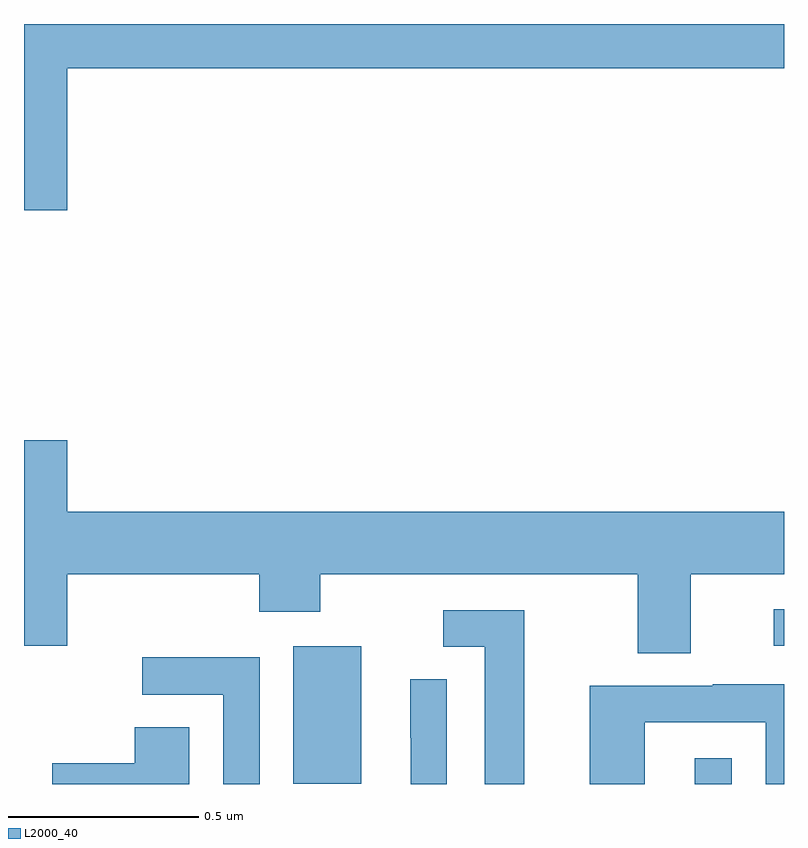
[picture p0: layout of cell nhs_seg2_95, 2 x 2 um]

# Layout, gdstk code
import gdstk
lib = gdstk.Library(unit=1e-6, precision=1e-09)
def R(c, l, rs):  # rectangles x0, y0, x1, y1
    for r in rs: c.add(gdstk.rectangle(r[:2], r[2:], *l))
def P(c, l, *ps):  # polygons
    for p in ps: c.add(gdstk.Polygon(p, *l))
L2000_40 = (2000, 40)

nhs_seg2_95 = lib.new_cell('nhs_seg2_95')
R(nhs_seg2_95, L2000_40, [(113.765,597.8,113.862,597.868), (112.709,597.801,112.888,598.162), (113.973,598.164,114,598.26)])
P(nhs_seg2_95, L2000_40, [(112.114,599.684),(114,599.684),(114,599.8),(112,599.8),(112,599.31),(112.114,599.31)],
  [(113.755,598.352),(114,598.352),(114,598.516),(112.114,598.516),(112.114,598.705),(112,598.705),(112,598.164),(112.114,598.164),(112.114,598.352),(112.619,598.352),(112.619,598.253),(112.779,598.253),(112.779,598.352),(113.615,598.352),(113.615,598.144),(113.755,598.144)],
  [(113.317,598.257),(113.103,598.257),(113.103,598.161),(113.213,598.161),(113.213,597.8),(113.317,597.8)],
  [(112.62,598.134),(112.311,598.134),(112.311,598.035),(112.524,598.035),(112.524,597.8),(112.62,597.8)],
  [(113.112,598.076),(113.016,598.076),(113.016,597.922),(113.018,597.922),(113.018,597.8),(113.112,597.8)],
  [(113.634,597.963),(113.952,597.963),(113.952,597.8),(114,597.8),(114,598.063),(113.813,598.063),(113.813,598.059),(113.489,598.059),(113.489,597.8),(113.634,597.8)],
  [(112.435,597.95),(112.292,597.95),(112.292,597.855),(112.074,597.855),(112.074,597.8),(112.435,597.8)])

lib.write_gds('nhs_seg2_95.gds')
